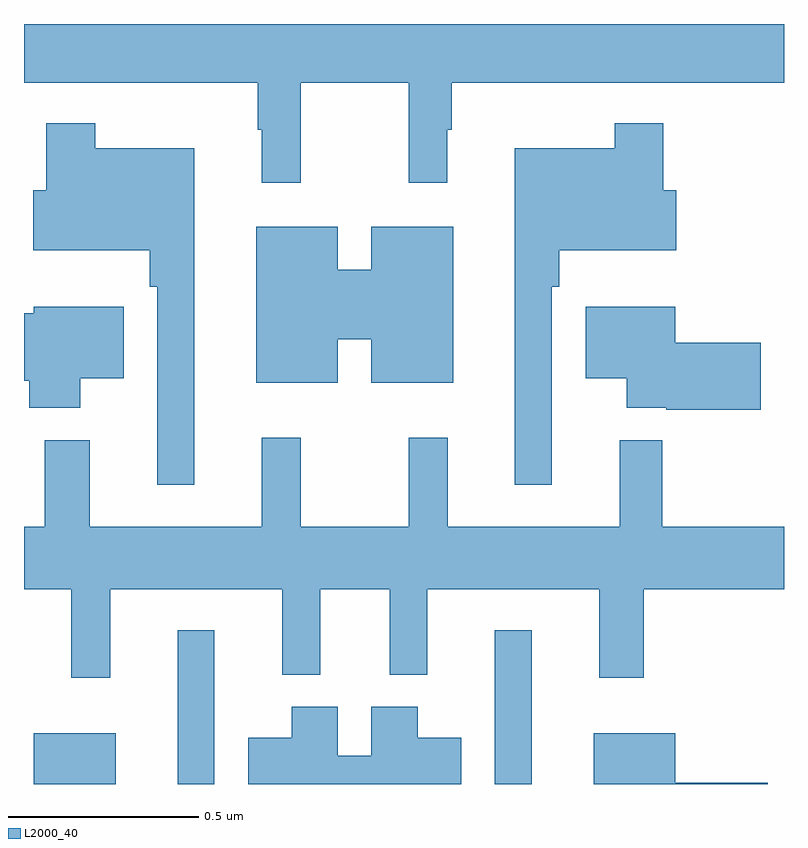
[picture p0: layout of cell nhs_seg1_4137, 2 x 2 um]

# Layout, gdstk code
import gdstk
lib = gdstk.Library(unit=1e-6, precision=1e-09)
def R(c, l, rs):  # rectangles x0, y0, x1, y1
    for r in rs: c.add(gdstk.rectangle(r[:2], r[2:], *l))
def P(c, l, *ps):  # polygons
    for p in ps: c.add(gdstk.Polygon(p, *l))
L2000_40 = (2000, 40)

nhs_seg1_4137 = lib.new_cell('nhs_seg1_4137')
R(nhs_seg1_4137, L2000_40, [(162.026,571.199,162.241,571.333), (162.404,571.199,162.501,571.603), (163.239,571.199,163.336,571.603)])
P(nhs_seg1_4137, L2000_40, [(162.728,573.044),(163.012,573.044),(163.012,572.781),(163.114,572.781),(163.114,572.921),(163.126,572.921),(163.126,573.044),(164,573.044),(164,573.199),(162,573.199),(162,573.044),(162.615,573.044),(162.615,572.921),(162.626,572.921),(162.626,572.781),(162.728,572.781)],
  [(162.448,572.872),(162.187,572.872),(162.187,572.938),(162.058,572.938),(162.058,572.761),(162.024,572.761),(162.024,572.603),(162.331,572.603),(162.331,572.507),(162.351,572.507),(162.351,571.986),(162.448,571.986)],
  [(163.389,572.507),(163.409,572.507),(163.409,572.603),(163.717,572.603),(163.717,572.761),(163.682,572.761),(163.682,572.938),(163.554,572.938),(163.554,572.872),(163.292,572.872),(163.292,571.986),(163.389,571.986)],
  [(162.826,572.369),(162.914,572.369),(162.914,572.255),(163.129,572.255),(163.129,572.665),(162.914,572.665),(162.914,572.552),(162.826,572.552),(162.826,572.665),(162.611,572.665),(162.611,572.255),(162.826,572.255)],
  [(163.939,572.36),(163.714,572.36),(163.714,572.455),(163.478,572.455),(163.478,572.267),(163.586,572.267),(163.586,572.189),(163.69,572.189),(163.69,572.184),(163.939,572.184)],
  [(162.148,572.267),(162.262,572.267),(162.262,572.455),(162.026,572.455),(162.026,572.438),(162,572.438),(162,572.26),(162.014,572.26),(162.014,572.189),(162.148,572.189)],
  [(162.227,571.712),(162.68,571.712),(162.68,571.487),(162.779,571.487),(162.779,571.712),(162.962,571.712),(162.962,571.487),(163.061,571.487),(163.061,571.712),(163.514,571.712),(163.514,571.479),(163.631,571.479),(163.631,571.712),(164,571.712),(164,571.876),(163.68,571.876),(163.68,572.104),(163.568,572.104),(163.568,571.876),(163.115,571.876),(163.115,572.11),(163.012,572.11),(163.012,571.876),(162.728,571.876),(162.728,572.11),(162.626,572.11),(162.626,571.876),(162.173,571.876),(162.173,572.104),(162.055,572.104),(162.055,571.876),(162,571.876),(162,571.712),(162.124,571.712),(162.124,571.479),(162.227,571.479)],
  [(163.15,571.321),(163.036,571.321),(163.036,571.402),(162.914,571.402),(162.914,571.273),(162.826,571.273),(162.826,571.402),(162.704,571.402),(162.704,571.321),(162.59,571.321),(162.59,571.199),(163.15,571.199)],
  [(163.957,571.202),(163.714,571.202),(163.714,571.333),(163.499,571.333),(163.499,571.199),(163.957,571.199)])

lib.write_gds('nhs_seg1_4137.gds')
